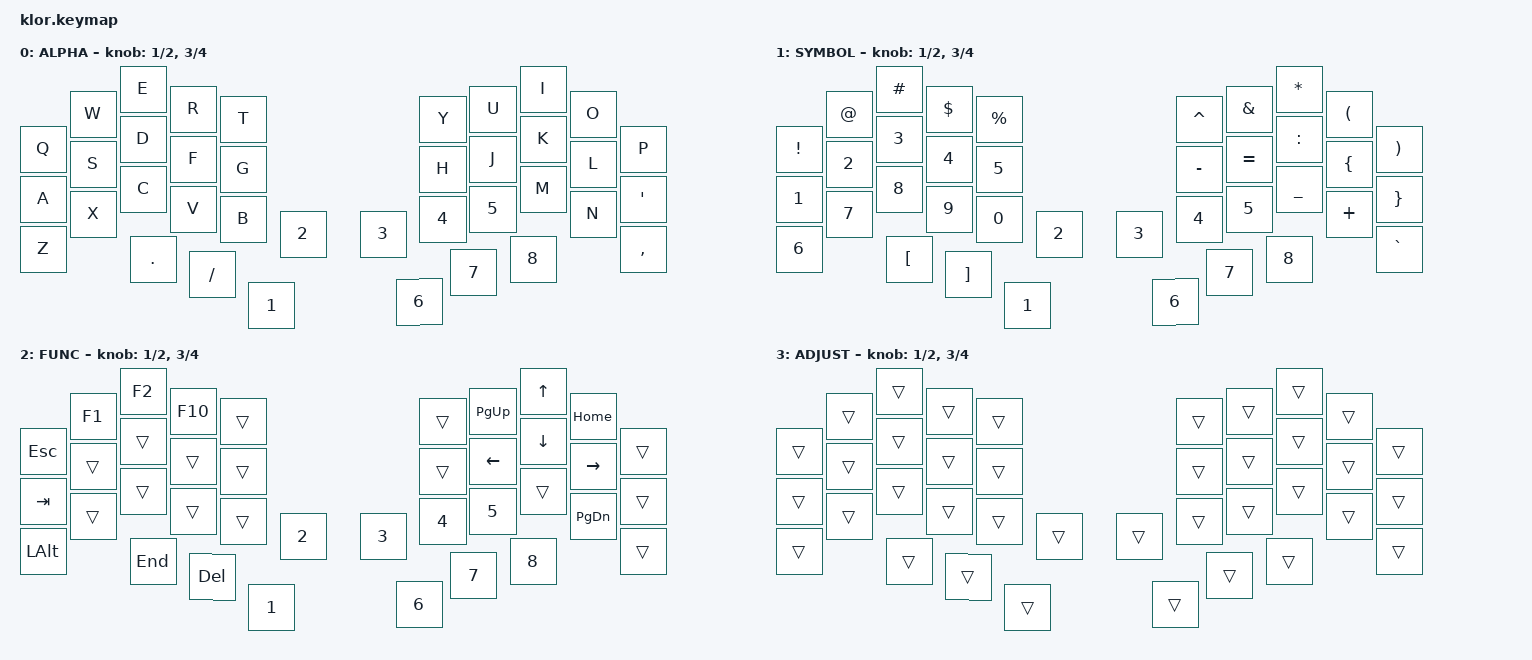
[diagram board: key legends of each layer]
//                               █         █    █            ▄▄▄▀▀▀▀▀▀▄▄▄        █▀▀▀▀▀▀▀▀▀▀█
//                               █        █     █          ▄▀            ▀▄      █          █
//                               █       █      █        ▄▀                ▀▄    █          █
//                               █      █       █        █                  █    █          █
//                               █     █        █       █                    █   █          █
//                               █    █         █       █                    █   █▄▄▄▄▄▄▄▄▄▄█
//                               █   █ █        █       █                    █   █      █
//                               █  █   █       █        █                  █    █       █
//                               █ █     █      █        ▀▄                ▄▀    █        █
//                               ██       █     █          ▀▄            ▄▀      █         █
//                               █         █    █▄▄▄▄▄▄▄▄    ▀▀▀▄▄▄▄▄▄▀▀▀        █          █
//
// ▄▄▄▄▄▄▄▄▄▄▄▄▄▄▄▄▄▄▄▄▄▄▄▄▄▄▄▄▄▄▄▄▄▄▄▄▄▄▄▄▄▄▄▄▄▄▄▄▄▄▄▄▄▄▄▄▄▄▄▄▄▄▄▄▄▄▄▄▄▄▄▄▄▄▄▄▄▄▄▄▄▄▄▄▄▄▄▄▄▄▄▄▄▄▄▄▄▄▄▄▄▄▄▄▄▄▄▄▄▄▄▄▄▄▄▄▄▄▄▄▄▄▄▄▄

#include <behaviors.dtsi>
#include <dt-bindings/zmk/keys.h>

#define ALPHA  0
#define SYMBOL 1
#define FUNC   2
#define ADJUST 3

/ {
    keymap {
        compatible = "zmk,keymap";

        alpha_layer {
            label = "ALPHA";
            bindings = <
              &kp Q  &kp W  &kp E  &kp R  &kp T                   &kp Y  &kp U   &kp I      &kp O       &kp P
              &kp A  &kp S  &kp D  &kp F  &kp G                   &kp H  &kp J   &kp K      &kp L       &kp APOS
              &kp Z  &kp X  &kp C  &kp V  &kp B   &kp N4  &kp N5  &kp M  &kp N   &kp COMMA  &kp PERIOD  &kp SLASH
                            &kp N1 &kp N2 &kp N3                  &kp N6 &kp N7  &kp N8
            >;
            sensor-bindings = <&inc_dec_kp N1 N2 &inc_dec_kp N3 N4>;
        };

        symbol_layer {
            label = "SYMBOL";
            bindings = <
              &kp EXCL  &kp AT  &kp HASH  &kp DOLLAR  &kp PERCENT               &kp CARET  &kp AMPERSAND  &kp ASTERISK   &kp LEFT_PARENTHESIS  &kp RIGHT_PARENTHESIS
              &kp N1    &kp N2  &kp N3    &kp N4      &kp N5                    &kp MINUS  &kp EQUAL      &kp COLON      &kp LEFT_BRACE        &kp RIGHT_BRACE
              &kp N6    &kp N7  &kp N8    &kp N9      &kp N0   &kp N4  &kp N5   &kp UNDER  &kp PLUS       &kp GRAVE      &kp LEFT_BRACKET      &kp RIGHT_BRACKET  
                                &kp N1    &kp N2      &kp N3                    &kp N6     &kp N7         &kp N8
            >;
            sensor-bindings = <&inc_dec_kp N1 N2 &inc_dec_kp N3 N4>;
        };

        func_layer {
            label = "FUNC";
            bindings = <
              &kp ESC       &kp F1  &kp F2   &kp F10  &trans                    &trans     &kp PAGE_UP    &kp UP_ARROW    &kp HOME       &trans
              &kp TAB       &trans  &trans   &trans   &trans                    &trans     &kp LEFT       &kp DOWN_ARROW  &kp RIGHT      &trans
              &kp LEFT_ALT  &trans  &trans   &trans   &trans   &kp N4  &kp N5   &trans     &kp PAGE_DOWN  &trans          &kp END        &kp DEL  
                                    &kp N1   &kp N2   &kp N3                    &kp N6     &kp N7         &kp N8
            >;
            sensor-bindings = <&inc_dec_kp N1 N2 &inc_dec_kp N3 N4>;
        };

        adjust_layer {
            label = "ADJUST";
            bindings = <
              &trans  &trans  &trans  &trans  &trans                  &trans  &trans  &trans  &trans  &trans
              &trans  &trans  &trans  &trans  &trans                  &trans  &trans  &trans  &trans  &trans
              &trans  &trans  &trans  &trans  &trans  &trans  &trans  &trans  &trans  &trans  &trans  &trans
                              &trans  &trans  &trans                  &trans  &trans  &trans
            >;
            sensor-bindings = <&inc_dec_kp N1 N2 &inc_dec_kp N3 N4>;
        };
    };
};
